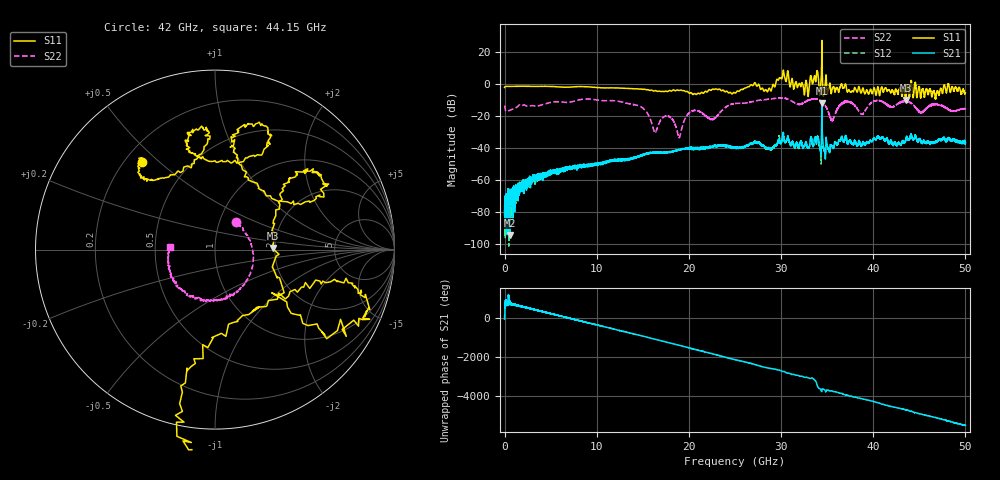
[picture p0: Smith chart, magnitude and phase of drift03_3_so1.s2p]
!Created with skrf (http://scikit-rf.org).
# Hz S RI R 50.0
!freq ReS11 ImS11 ReS21 ImS21 ReS12 ImS12 ReS22 ImS22
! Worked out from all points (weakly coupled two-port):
!   10000 points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, 5.3 MHz to 50 GHz, reference 50 ohm
!   highest |S21| = -12.00 dB at 34.43 GHz (marker M1); lowest = -94.3 dB at 555.3 MHz (marker M2)
!   lowest |S11| = -9.9 dB at 43.53 GHz (marker M3), VSWR 1.95, Z = 97.4 + j1.93 ohm
!   |S11| at or under -10 dB: nowhere
!   |S22| runs from -33.5 to -8.5 dB; largest |S21 - S12| = 0.08
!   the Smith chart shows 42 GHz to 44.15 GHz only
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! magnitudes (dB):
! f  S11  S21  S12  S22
! 5.3 MHz  -2.1  -79.2  -79.1  -13.3
! 555.3 MHz  -1.4  -94.3  -70.8  -16.4
! 2.97 GHz  -1.4  -59.4  -59.2  -13.4
! 8.34 GHz  -1.5  -51.5  -51.0  -9.5
! 14.5 GHz  -3.1  -45.4  -45.1  -13.4
! 16.67 GHz  -4.4  -43.0  -42.8  -25.6
! 17.82 GHz  -4.2  -42.4  -42.5  -20.1
! 18.95 GHz  -4.0  -41.2  -41.0  -33.5
! 20.25 GHz  -5.4  -39.6  -40.3  -17.1
! 22.56 GHz  -3.1  -39.5  -39.1  -21.8
! 25.01 GHz  -5.5  -39.6  -39.6  -12.1
! 28.72 GHz  -2.5  -40.5  -40.5  -9.4
! 30.14 GHz  4.3  -33.8  -34.0  -8.6
! 32.74 GHz  2.1  -36.8  -36.7  -10.8
! 33.34 GHz  2.4  -34.6  -35.1  -9.4
! 34.43 GHz  27.3  -12.0  -14.3  -11.0
! 35.54 GHz  -3.3  -38.8  -39.0  -22.9
! 36.99 GHz  0.2  -32.7  -32.5  -11.3
! 38.75 GHz  -5.0  -38.1  -38.3  -18.9
! 41.67 GHz  -3.5  -37.1  -37.0  -13.3
! 43.53 GHz  -9.9  -35.0  -34.8  -10.7
! 50 GHz  -5.4  -36.4  -36.1  -15.6
